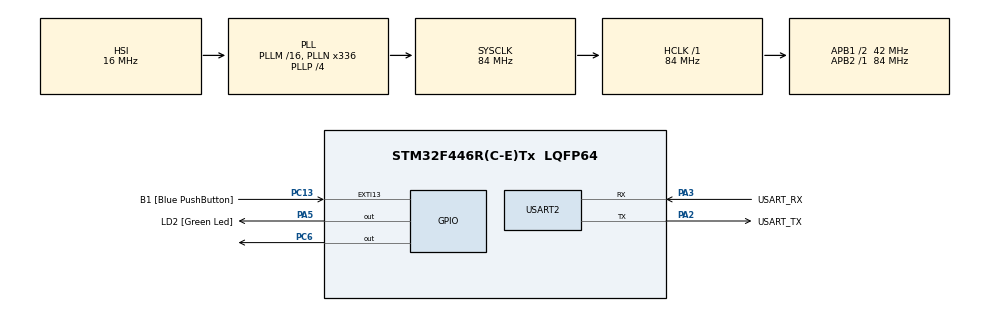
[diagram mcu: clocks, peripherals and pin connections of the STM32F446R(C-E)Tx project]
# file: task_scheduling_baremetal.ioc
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Mcu.Family=STM32F4
Mcu.Name=STM32F446R(C-E)Tx
Mcu.Package=LQFP64
NVIC.PriorityGroup=NVIC_PRIORITYGROUP_0
PA13.GPIO_Label=TMS
PA13.Mode=Serial_Wire
PA13.Signal=SYS_JTMS-SWDIO
PA14.GPIO_Label=TCK
PA14.Mode=Serial_Wire
PA14.Signal=SYS_JTCK-SWCLK
PA2.GPIO_Label=USART_TX
PA2.Mode=Asynchronous
PA2.Signal=USART2_TX
PA3.GPIO_Label=USART_RX
PA3.Mode=Asynchronous
PA3.Signal=USART2_RX
PA5.GPIO_Label=LD2 [Green Led]
PA5.Signal=GPIO_Output
PB3.GPIO_Label=SWO
PB3.Signal=SYS_JTDO-SWO
PC13.GPIO_Label=B1 [Blue PushButton]
PC13.GPIO_ModeDefaultEXTI=GPIO_MODE_IT_FALLING
PC13.Signal=GPXTI13
PC14-OSC32_IN.Mode=LSE-External-Oscillator
PC14-OSC32_IN.Signal=RCC_OSC32_IN
PC15-OSC32_OUT.Mode=LSE-External-Oscillator
PC15-OSC32_OUT.Signal=RCC_OSC32_OUT
PC6.Signal=GPIO_Output
PH0-OSC_IN.Mode=HSE-External-Oscillator
PH0-OSC_IN.Signal=RCC_OSC_IN
PH1-OSC_OUT.Mode=HSE-External-Oscillator
PH1-OSC_OUT.Signal=RCC_OSC_OUT
ProjectManager.HeapSize=0x200
ProjectManager.StackSize=0x400
ProjectManager.TargetToolchain=STM32CubeIDE
RCC.48MHZClocksFreq_Value=84000000
RCC.AHBFreq_Value=84000000
RCC.APB1CLKDivider=RCC_HCLK_DIV2
RCC.APB1Freq_Value=42000000
RCC.APB1TimFreq_Value=84000000
RCC.APB2Freq_Value=84000000
RCC.APB2TimFreq_Value=84000000
RCC.CortexFreq_Value=84000000
RCC.FLatency-AdvancedSettings=FLASH_LATENCY_2
RCC.HCLKFreq_Value=84000000
RCC.HSE_VALUE=8000000
RCC.HSI_VALUE=16000000
RCC.PLLN=336
RCC.PLLP=RCC_PLLP_DIV4
RCC.SYSCLKFreq_VALUE=84000000
RCC.SYSCLKSource=RCC_SYSCLKSOURCE_PLLCLK
RCC.USBFreq_Value=168000000
RCC.VCOOutputFreq_Value=336000000
USART2.VirtualMode=VM_ASYNC
board=NUCLEO-F446RE

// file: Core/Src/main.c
/* USER CODE BEGIN Header */
/**
  ******************************************************************************
  * @file           : main.c
  * @brief          : Main program body
  ******************************************************************************
  * @attention
  *
  * Copyright (c) 2025 STMicroelectronics.
  * All rights reserved.
  *
  * This software is licensed under terms that can be found in the LICENSE file
  * in the root directory of this software component.
  * If no LICENSE file comes with this software, it is provided AS-IS.
  *
  ******************************************************************************
  */
/* USER CODE END Header */
#include "main.h"

/* USER CODE BEGIN Includes */
#include <stdint.h>
#include<stdio.h>

/* USER CODE END Includes */

/* USER CODE BEGIN PTD */
#define MAX_TASKS   3

/* some stack memory calculations */
#define SIZE_TASK_STACK          1024U
#define SIZE_SCHED_STACK         1024U

#define SRAM_START               0x20000000U
#define SIZE_SRAM                ( (128) * (1024))
#define SRAM_END                 ((SRAM_START) + (SIZE_SRAM) )

#define T1_STACK_START           SRAM_END
#define T2_STACK_START           ( (SRAM_END) - (1 * SIZE_TASK_STACK) )
#define T3_STACK_START           ( (SRAM_END) - (2 * SIZE_TASK_STACK) )
#define T4_STACK_START           ( (SRAM_END) - (3 * SIZE_TASK_STACK) )
#define IDLE_STACK_START         ( (SRAM_END) - (4 * SIZE_TASK_STACK) )
#define SCHED_STACK_START        ( (SRAM_END) - (5 * SIZE_TASK_STACK) )

#define TICK_HZ 1000U

#define HSI_CLOCK         		16000000U
#define SYSTICK_TIM_CLK   		HSI_CLOCK

#define DUMMY_XPSR  0x01000000U

#define TASK_READY_STATE  0x00
#define TASK_BLOCKED_STATE  0XFF

#define INTERRUPT_DISABLE()  do{__asm volatile ("MOV R0,#0x1"); asm volatile("MSR PRIMASK,R0"); } while(0)

#define INTERRUPT_ENABLE()  do{__asm volatile ("MOV R0,#0x0"); asm volatile("MSR PRIMASK,R0"); } while(0)

/* USER CODE END PTD */

UART_HandleTypeDef huart2;

void SystemClock_Config(void);
static void MX_GPIO_Init(void);
static void MX_USART2_UART_Init(void);
/* USER CODE BEGIN PFP */

void init_systick_timer(uint32_t tick_hz);
void init_tasks_stack(void);
void enable_processor_faults(void);
void task_delay(uint32_t tick_count);
void schedule(void);

__attribute__((naked)) void init_scheduler_stack(uint32_t sched_top_of_stack);
__attribute__((naked)) void switch_sp_to_psp(void);
__attribute__((naked)) void PendSV_Handler(void);

uint32_t get_psp_value(void);
void save_psp_value(uint32_t current_psp_value);
void update_next_task(void);

/* ---------------- Task Prototypes ---------------- */
void idle_task(void);
void task1_handler(void);
void task2_handler(void);

/* ===================================================== */
/* USER CODE END PFP */

/* USER CODE BEGIN 0 */
typedef struct
{
    uint32_t psp_value;
    uint32_t block_count;
    uint8_t  current_state;
    void (*task_handler)(void);
} TCB_t;

TCB_t user_tasks[MAX_TASKS];

uint32_t g_tick_count = 0;
uint8_t current_task = 0;

/* USER CODE END 0 */

int main(void)
{

  /* MCU Configuration--------------------------------------------------------*/

  /* Reset of all peripherals, Initializes the Flash interface and the Systick. */
  HAL_Init();

  /* Configure the system clock */
  SystemClock_Config();

  /* Initialize all configured peripherals */
  MX_GPIO_Init();
  MX_USART2_UART_Init();
  /* USER CODE BEGIN 2 */
  enable_processor_faults();
  init_scheduler_stack(SCHED_STACK_START);
  init_tasks_stack();
  init_systick_timer(TICK_HZ);

  switch_sp_to_psp();
  schedule();
  //task1_handler();   // start first task

  /* USER CODE END 2 */

  /* Infinite loop */
  while (1)
  {

  }
}

void SystemClock_Config(void)
{
  RCC_OscInitTypeDef RCC_OscInitStruct = {0};
  RCC_ClkInitTypeDef RCC_ClkInitStruct = {0};

  /** Configure the main internal regulator output voltage
  */
  __HAL_RCC_PWR_CLK_ENABLE();
  __HAL_PWR_VOLTAGESCALING_CONFIG(PWR_REGULATOR_VOLTAGE_SCALE3);

  /** Initializes the RCC Oscillators according to the specified parameters
  * in the RCC_OscInitTypeDef structure.
  */
  RCC_OscInitStruct.OscillatorType = RCC_OSCILLATORTYPE_HSI;
  RCC_OscInitStruct.HSIState = RCC_HSI_ON;
  RCC_OscInitStruct.HSICalibrationValue = RCC_HSICALIBRATION_DEFAULT;
  RCC_OscInitStruct.PLL.PLLState = RCC_PLL_ON;
  RCC_OscInitStruct.PLL.PLLSource = RCC_PLLSOURCE_HSI;
  RCC_OscInitStruct.PLL.PLLM = 16;
  RCC_OscInitStruct.PLL.PLLN = 336;
  RCC_OscInitStruct.PLL.PLLP = RCC_PLLP_DIV4;
  RCC_OscInitStruct.PLL.PLLQ = 2;
  RCC_OscInitStruct.PLL.PLLR = 2;
  if (HAL_RCC_OscConfig(&RCC_OscInitStruct) != HAL_OK)
  {
    Error_Handler();
  }

  /** Initializes the CPU, AHB and APB buses clocks
  */
  RCC_ClkInitStruct.ClockType = RCC_CLOCKTYPE_HCLK|RCC_CLOCKTYPE_SYSCLK
                              |RCC_CLOCKTYPE_PCLK1|RCC_CLOCKTYPE_PCLK2;
  RCC_ClkInitStruct.SYSCLKSource = RCC_SYSCLKSOURCE_PLLCLK;
  RCC_ClkInitStruct.AHBCLKDivider = RCC_SYSCLK_DIV1;
  RCC_ClkInitStruct.APB1CLKDivider = RCC_HCLK_DIV2;
  RCC_ClkInitStruct.APB2CLKDivider = RCC_HCLK_DIV1;

  if (HAL_RCC_ClockConfig(&RCC_ClkInitStruct, FLASH_LATENCY_2) != HAL_OK)
  {
    Error_Handler();
  }
}

static void MX_USART2_UART_Init(void)
{

  huart2.Instance = USART2;
  huart2.Init.BaudRate = 115200;
  huart2.Init.WordLength = UART_WORDLENGTH_8B;
  huart2.Init.StopBits = UART_STOPBITS_1;
  huart2.Init.Parity = UART_PARITY_NONE;
  huart2.Init.Mode = UART_MODE_TX_RX;
  huart2.Init.HwFlowCtl = UART_HWCONTROL_NONE;
  huart2.Init.OverSampling = UART_OVERSAMPLING_16;
  if (HAL_UART_Init(&huart2) != HAL_OK)
  {
    Error_Handler();
  }

}

static void MX_GPIO_Init(void)
{
  GPIO_InitTypeDef GPIO_InitStruct = {0};

  /* GPIO Ports Clock Enable */
  __HAL_RCC_GPIOC_CLK_ENABLE();
  __HAL_RCC_GPIOH_CLK_ENABLE();
  __HAL_RCC_GPIOA_CLK_ENABLE();
  __HAL_RCC_GPIOB_CLK_ENABLE();

  /*Configure GPIO pin Output Level */
  HAL_GPIO_WritePin(LD2_GPIO_Port, LD2_Pin, GPIO_PIN_RESET);

  /*Configure GPIO pin Output Level */
  HAL_GPIO_WritePin(GPIOC, GPIO_PIN_6, GPIO_PIN_RESET);

  /*Configure GPIO pin : B1_Pin */
  GPIO_InitStruct.Pin = B1_Pin;
  GPIO_InitStruct.Mode = GPIO_MODE_IT_FALLING;
  GPIO_InitStruct.Pull = GPIO_NOPULL;
  HAL_GPIO_Init(B1_GPIO_Port, &GPIO_InitStruct);

  /*Configure GPIO pin : LD2_Pin */
  GPIO_InitStruct.Pin = LD2_Pin;
  GPIO_InitStruct.Mode = GPIO_MODE_OUTPUT_PP;
  GPIO_InitStruct.Pull = GPIO_NOPULL;
  GPIO_InitStruct.Speed = GPIO_SPEED_FREQ_LOW;
  HAL_GPIO_Init(LD2_GPIO_Port, &GPIO_InitStruct);

  /*Configure GPIO pin : PC6 */
  GPIO_InitStruct.Pin = GPIO_PIN_6;
  GPIO_InitStruct.Mode = GPIO_MODE_OUTPUT_PP;
  GPIO_InitStruct.Pull = GPIO_NOPULL;
  GPIO_InitStruct.Speed = GPIO_SPEED_FREQ_LOW;
  HAL_GPIO_Init(GPIOC, &GPIO_InitStruct);

}

/* USER CODE BEGIN 4 */
/* ---------------- Tasks ---------------- */

void idle_task(void)
{
    while (1)
    {
        __WFI(); // low-power idle
    }
}

void task1_handler(void)
{
    while (1)
    {
        HAL_GPIO_TogglePin(GPIOA, GPIO_PIN_5); // LED1
        task_delay(5000);  // 1 second
        printf("This is task1\n");
    }
}

void task2_handler(void)
{
    while (1)
    {
        HAL_GPIO_TogglePin(GPIOC, GPIO_PIN_6); // LED2
        task_delay(30000);   // 500 ms
        printf("This is task2\n");
    }
}

/* ---------------- Scheduler Core ---------------- */
__attribute__((naked)) void switch_sp_to_psp(void)
{
    //1. initialize the PSP with TASK1 stack start address

	//get the value of psp of current_task
	__asm volatile ("PUSH {LR}"); //preserve LR which connects back to main()
	__asm volatile ("BL get_psp_value");
	__asm volatile ("MSR PSP,R0"); //initialize psp
	__asm volatile ("POP {LR}");  //pops back LR value

	//2. change SP to PSP using CONTROL register
	__asm volatile ("MOV R0,#0X02");
	__asm volatile ("MSR CONTROL,R0");
	__asm volatile ("BX LR");
}

void init_systick_timer(uint32_t tick_hz)
{
	uint32_t *pSRVR = (uint32_t*)0xE000E014;
	uint32_t *pSCSR = (uint32_t*)0xE000E010;

    /* calculation of reload value */
    uint32_t count_value = (SYSTICK_TIM_CLK/tick_hz)-1;

    //Clear the value of SVR
    *pSRVR &= ~(0x00FFFFFFFF);

    //load the value in to SVR
    *pSRVR |= count_value;

    //do some settings
    *pSCSR |= ( 1 << 1); //Enables SysTick exception request:
    *pSCSR |= ( 1 << 2);  //Indicates the clock source, processor clock source

    //enable the systick
    *pSCSR |= ( 1 << 0); //enables the counter

}

__attribute__((naked)) void init_scheduler_stack(uint32_t sched_top_of_stack)
{
    __asm volatile ("MSR MSP, %0" : : "r" (sched_top_of_stack));
    __asm volatile ("BX LR");
}

void init_tasks_stack(void)
{
    user_tasks[0] = (TCB_t){IDLE_STACK_START, 0, TASK_READY_STATE, idle_task};
    user_tasks[1] = (TCB_t){T1_STACK_START, 0, TASK_READY_STATE, task1_handler};
    user_tasks[2] = (TCB_t){T2_STACK_START, 0, TASK_READY_STATE, task2_handler};

    uint32_t *pPSP;

    for (int i = 0; i < MAX_TASKS; i++)
    {
        pPSP = (uint32_t*)user_tasks[i].psp_value;

        *(--pPSP) = DUMMY_XPSR;
        *(--pPSP) = (uint32_t)user_tasks[i].task_handler;
        *(--pPSP) = 0xFFFFFFFD;

        for (int j = 0; j < 13; j++)
            *(--pPSP) = 0;

        user_tasks[i].psp_value = (uint32_t)pPSP;
    }
}

void task_delay(uint32_t tick_count)
{
    __disable_irq();

    if (current_task)
    {
        user_tasks[current_task].block_count = g_tick_count + tick_count;
        user_tasks[current_task].current_state = TASK_BLOCKED_STATE;
        schedule();
    }

    __enable_irq();
}

void schedule(void)
{
    uint32_t *pICSR = (uint32_t*)0xE000ED04;
    *pICSR |= (1 << 28); // PendSV
}

uint32_t get_psp_value(void)
{
    return user_tasks[current_task].psp_value;
}

void save_psp_value(uint32_t current_psp_value)
{
    user_tasks[current_task].psp_value = current_psp_value;
}

void update_next_task(void)
{
    for (int i = 0; i < MAX_TASKS; i++)
    {
        current_task++;
        current_task %= MAX_TASKS;
        if (user_tasks[current_task].current_state == TASK_READY_STATE)
            return;
    }
    current_task = 0;
}

__attribute__((naked)) void PendSV_Handler(void)
{
    __asm volatile(
        "MRS R0, PSP            \n"
        "STMDB R0!, {R4-R11}    \n"
        "PUSH {LR}              \n"

        "BL save_psp_value      \n"
        "BL update_next_task    \n"
        "BL get_psp_value       \n"

        "POP {LR}               \n"
        "LDMIA R0!, {R4-R11}    \n"
        "MSR PSP, R0            \n"
        "BX LR                  \n"
    );
}

void SysTick_Handler(void)
{
    g_tick_count++;

    for (int i = 1; i < MAX_TASKS; i++)
    {
        if (user_tasks[i].current_state == TASK_BLOCKED_STATE &&
            user_tasks[i].block_count == g_tick_count)
        {
            user_tasks[i].current_state = TASK_READY_STATE;
        }
    }

    schedule();
}

/* ---------------- Fault Handlers ---------------- */

void HardFault_Handler(void)
{
    while (1);
}

void enable_processor_faults(void)
{
	uint32_t *pSHCSR = (uint32_t*)0xE000ED24;

	*pSHCSR |= ( 1 << 16); //mem manage
	*pSHCSR |= ( 1 << 17); //bus fault
	*pSHCSR |= ( 1 << 18); //usage fault
}
void MemManage_Handler(void)
{
	printf("Exception : MemManage\n");
	while(1);
}

void BusFault_Handler(void)
{
	printf("Exception : BusFault\n");
	while(1);
}

/* USER CODE END 4 */

void Error_Handler(void)
{
  __disable_irq();
  while (1)
  {
  }
}
